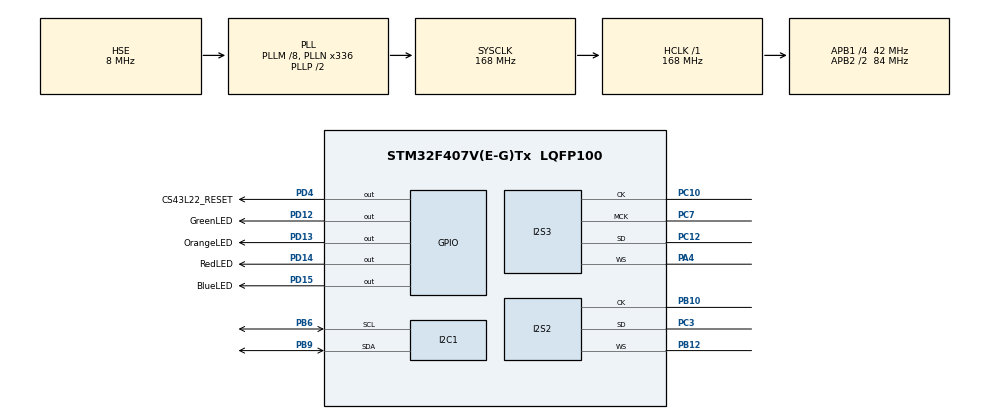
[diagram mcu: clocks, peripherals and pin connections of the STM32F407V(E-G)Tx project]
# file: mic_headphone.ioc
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Dma.Request0=SPI2_RX
Dma.Request1=SPI3_TX
Dma.SPI2_RX.0.Direction=DMA_PERIPH_TO_MEMORY
Dma.SPI2_RX.0.FIFOMode=DMA_FIFOMODE_DISABLE
Dma.SPI2_RX.0.Instance=DMA1_Stream3
Dma.SPI2_RX.0.MemDataAlignment=DMA_MDATAALIGN_HALFWORD
Dma.SPI2_RX.0.MemInc=DMA_MINC_ENABLE
Dma.SPI2_RX.0.Mode=DMA_CIRCULAR
Dma.SPI2_RX.0.PeriphDataAlignment=DMA_PDATAALIGN_HALFWORD
Dma.SPI2_RX.0.PeriphInc=DMA_PINC_DISABLE
Dma.SPI2_RX.0.Priority=DMA_PRIORITY_LOW
Dma.SPI3_TX.1.Direction=DMA_MEMORY_TO_PERIPH
Dma.SPI3_TX.1.FIFOMode=DMA_FIFOMODE_DISABLE
Dma.SPI3_TX.1.Instance=DMA1_Stream5
Dma.SPI3_TX.1.MemDataAlignment=DMA_MDATAALIGN_HALFWORD
Dma.SPI3_TX.1.MemInc=DMA_MINC_ENABLE
Dma.SPI3_TX.1.Mode=DMA_CIRCULAR
Dma.SPI3_TX.1.PeriphDataAlignment=DMA_PDATAALIGN_HALFWORD
Dma.SPI3_TX.1.PeriphInc=DMA_PINC_DISABLE
Dma.SPI3_TX.1.Priority=DMA_PRIORITY_LOW
I2S2.AudioFreq=I2S_AUDIOFREQ_48K
I2S2.DataFormat=I2S_DATAFORMAT_24B
I2S2.ErrorAudioFreq=0.8 %
I2S2.FullDuplexMode=I2S_FULLDUPLEXMODE_DISABLE
I2S2.Instance=SPI$Index
I2S2.Mode=I2S_MODE_SLAVE_RX
I2S2.RealAudioFreq=48.387 KHz
I2S2.VirtualMode=I2S_MODE_SLAVE
I2S3.AudioFreq=I2S_AUDIOFREQ_48K
I2S3.DataFormat=I2S_DATAFORMAT_24B
I2S3.ErrorAudioFreq=-2.34 %
I2S3.FullDuplexMode=I2S_FULLDUPLEXMODE_DISABLE
I2S3.Instance=SPI$Index
I2S3.RealAudioFreq=46.875 KHz
I2S3.VirtualMode=I2S_MODE_MASTER
Mcu.Family=STM32F4
Mcu.Name=STM32F407V(E-G)Tx
Mcu.Package=LQFP100
NVIC.DMA1_Stream3_IRQn=true\:0\:0\:false\:false\:true\:false\:true\:true
NVIC.DMA1_Stream5_IRQn=true\:0\:0\:false\:false\:true\:false\:true\:true
NVIC.PriorityGroup=NVIC_PRIORITYGROUP_0
PA4.Mode=Half_Duplex_Master
PA4.Signal=I2S3_WS
PB10.Mode=Half_Duplex_Slave
PB10.Signal=I2S2_CK
PB12.Mode=Half_Duplex_Slave
PB12.Signal=I2S2_WS
PB6.Mode=I2C
PB6.Signal=I2C1_SCL
PB9.Mode=I2C
PB9.Signal=I2C1_SDA
PC10.Mode=Half_Duplex_Master
PC10.Signal=I2S3_CK
PC12.Mode=Half_Duplex_Master
PC12.Signal=I2S3_SD
PC3.Mode=Half_Duplex_Slave
PC3.Signal=I2S2_SD
PC7.Mode=Master_Clock_Activated
PC7.Signal=I2S3_MCK
PD12.GPIO_Label=GreenLED
PD12.Signal=GPIO_Output
PD13.GPIO_Label=OrangeLED 
PD13.Signal=GPIO_Output
PD14.GPIO_Label=RedLED 
PD14.Signal=GPIO_Output
PD15.GPIO_Label=BlueLED 
PD15.Signal=GPIO_Output
PD4.GPIO_Label=CS43L22_RESET
PD4.Signal=GPIO_Output
PDM2PCM.CHANNEL1_in_ptr_channels=1
PDM2PCM.CHANNEL1_mic_gain=18
PDM2PCM.CHANNEL1_out_ptr_channels=1
PH0-OSC_IN.Mode=HSE-External-Oscillator
PH0-OSC_IN.Signal=RCC_OSC_IN
PH1-OSC_OUT.Mode=HSE-External-Oscillator
PH1-OSC_OUT.Signal=RCC_OSC_OUT
ProjectManager.HeapSize=0x200
ProjectManager.StackSize=0x400
ProjectManager.TargetToolchain=STM32CubeIDE
RCC.48MHZClocksFreq_Value=48000000
RCC.AHBFreq_Value=168000000
RCC.APB1CLKDivider=RCC_HCLK_DIV4
RCC.APB1Freq_Value=42000000
RCC.APB1TimFreq_Value=84000000
RCC.APB2CLKDivider=RCC_HCLK_DIV2
RCC.APB2Freq_Value=84000000
RCC.APB2TimFreq_Value=168000000
RCC.CortexFreq_Value=168000000
RCC.HCLKFreq_Value=168000000
RCC.HSE_VALUE=8000000
RCC.HSI_VALUE=16000000
RCC.LSE_VALUE=32768
RCC.PLLM=8
RCC.PLLN=336
RCC.PLLQ=7
RCC.PLLSourceVirtual=RCC_PLLSOURCE_HSE
RCC.SYSCLKFreq_VALUE=168000000
RCC.SYSCLKSource=RCC_SYSCLKSOURCE_PLLCLK
RCC.VCOOutputFreq_Value=336000000
VP_CRC_VS_CRC.Mode=CRC_Activate
VP_PDM2PCM_VS_PDM2PCM.Mode=PDM2PCM_Channel
board=STM32F407G-DISC1

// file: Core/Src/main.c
/* USER CODE BEGIN Header */
/**
  ******************************************************************************
  * @file           : main.c
  * @brief          : Main program body
  ******************************************************************************
  * @attention
  *
  * Copyright (c) 2024 STMicroelectronics.
  * All rights reserved.
  *
  * This software is licensed under terms that can be found in the LICENSE file
  * in the root directory of this software component.
  * If no LICENSE file comes with this software, it is provided AS-IS.
  *
  ******************************************************************************
  */
/* USER CODE END Header */
#include "main.h"
#include "crc.h"
#include "dma.h"
#include "i2c.h"
#include "i2s.h"
#include "pdm2pcm.h"
#include "gpio.h"

/* USER CODE BEGIN Includes */
#include "CS43L22.h"

/* USER CODE END Includes */

/* USER CODE BEGIN PD */
#define N 32

/* USER CODE END PD */

/* USER CODE BEGIN PV */
uint16_t txBuf[4*N];
uint16_t pdmRxBuf[4*N];
uint16_t MidBuffer[16];
uint8_t txstate = 0;
uint8_t rxstate = 0;

uint16_t fifobuf[8*N];
uint8_t fifo_w_ptr = 0;
uint8_t fifo_r_ptr = 0;
uint8_t fifo_read_enabled = 0;

/* USER CODE END PV */

void SystemClock_Config(void);
void PeriphCommonClock_Config(void);

/* USER CODE BEGIN 0 */
void FifoWrite(uint16_t data) {
	fifobuf[fifo_w_ptr] = data;
	fifo_w_ptr++;
}

uint16_t FifoRead() {
	uint16_t val = fifobuf[fifo_r_ptr];
	fifo_r_ptr++;
	return val;
}

void HAL_I2S_TxHalfCpltCallback(I2S_HandleTypeDef *hi2s) {
	txstate = 1;
}

void HAL_I2S_TxCpltCallback(I2S_HandleTypeDef *hi2s) {
	txstate = 2;
}

void HAL_I2S_RxHalfCpltCallback(I2S_HandleTypeDef *hi2s) {
	rxstate = 1;
}

void HAL_I2S_RxCpltCallback(I2S_HandleTypeDef *hi2s) {
	rxstate = 2;
}

/* USER CODE END 0 */

int main(void)
{

  /* MCU Configuration--------------------------------------------------------*/

  /* Reset of all peripherals, Initializes the Flash interface and the Systick. */
  HAL_Init();

  /* Configure the system clock */
  SystemClock_Config();

  /* Configure the peripherals common clocks */
  PeriphCommonClock_Config();

  /* Initialize all configured peripherals */
  MX_GPIO_Init();
  MX_DMA_Init();
  MX_CRC_Init();
  MX_I2S2_Init();
  MX_PDM2PCM_Init();
  MX_I2S3_Init();
  MX_I2C1_Init();
  /* USER CODE BEGIN 2 */
  CS43_Pin_RST_Init();
  CS43_Init(hi2c1, MODE_I2S);
  CS43_SetVolume(40); // 0 - 40
  CS43_Enable_RightLeft(CS43_RIGHT_LEFT);
  CS43_Start();

  HAL_I2S_Transmit_DMA(&hi2s3, (uint16_t *) txBuf, 2*N);
  HAL_I2S_Receive_DMA(&hi2s2, (uint16_t *) pdmRxBuf, 2*N);

  /* USER CODE END 2 */

  /* Infinite loop */
  while (1)
  {

    /* USER CODE BEGIN 3 */
	  if (rxstate==1) {
		 PDM_Filter(&pdmRxBuf[0],&MidBuffer[0], &PDM1_filter_handler);
		 for (int i=0; i<16;i++) { FifoWrite(MidBuffer[i]); }
		 if (fifo_w_ptr-fifo_r_ptr > 4*N) fifo_read_enabled=1;
		 rxstate=0;
	  }
	  if (rxstate==2) {
		 PDM_Filter(&pdmRxBuf[2*N],&MidBuffer[0], &PDM1_filter_handler);
		 for (int i=0; i<16;i++) { FifoWrite(MidBuffer[i]); }
		 rxstate=0;
	  }
	  if (txstate==1) {
		 if (fifo_read_enabled==1) {
			for (int i=0; i<2*N;i=i+4) {
				uint16_t data = FifoRead();
				txBuf[i] = data;
				txBuf[i+2] = data;
			}
		 }
		 txstate=0;
	  }
	  if (txstate==2) {
		 if (fifo_read_enabled==1) {
			 for (int i=2*N; i<4*N;i=i+4) {
				uint16_t data = FifoRead();
				txBuf[i] = data;
				txBuf[i+2] = data;
			 }
		 }
		 txstate=0;
	  }

  }
  /* USER CODE END 3 */
}

void SystemClock_Config(void)
{
  RCC_OscInitTypeDef RCC_OscInitStruct = {0};
  RCC_ClkInitTypeDef RCC_ClkInitStruct = {0};

  /** Configure the main internal regulator output voltage
  */
  __HAL_RCC_PWR_CLK_ENABLE();
  __HAL_PWR_VOLTAGESCALING_CONFIG(PWR_REGULATOR_VOLTAGE_SCALE1);

  /** Initializes the RCC Oscillators according to the specified parameters
  * in the RCC_OscInitTypeDef structure.
  */
  RCC_OscInitStruct.OscillatorType = RCC_OSCILLATORTYPE_HSE;
  RCC_OscInitStruct.HSEState = RCC_HSE_ON;
  RCC_OscInitStruct.PLL.PLLState = RCC_PLL_ON;
  RCC_OscInitStruct.PLL.PLLSource = RCC_PLLSOURCE_HSE;
  RCC_OscInitStruct.PLL.PLLM = 8;
  RCC_OscInitStruct.PLL.PLLN = 336;
  RCC_OscInitStruct.PLL.PLLP = RCC_PLLP_DIV2;
  RCC_OscInitStruct.PLL.PLLQ = 7;
  if (HAL_RCC_OscConfig(&RCC_OscInitStruct) != HAL_OK)
  {
    Error_Handler();
  }

  /** Initializes the CPU, AHB and APB buses clocks
  */
  RCC_ClkInitStruct.ClockType = RCC_CLOCKTYPE_HCLK|RCC_CLOCKTYPE_SYSCLK
                              |RCC_CLOCKTYPE_PCLK1|RCC_CLOCKTYPE_PCLK2;
  RCC_ClkInitStruct.SYSCLKSource = RCC_SYSCLKSOURCE_PLLCLK;
  RCC_ClkInitStruct.AHBCLKDivider = RCC_SYSCLK_DIV1;
  RCC_ClkInitStruct.APB1CLKDivider = RCC_HCLK_DIV4;
  RCC_ClkInitStruct.APB2CLKDivider = RCC_HCLK_DIV2;

  if (HAL_RCC_ClockConfig(&RCC_ClkInitStruct, FLASH_LATENCY_5) != HAL_OK)
  {
    Error_Handler();
  }
}

void PeriphCommonClock_Config(void)
{
  RCC_PeriphCLKInitTypeDef PeriphClkInitStruct = {0};

  /** Initializes the peripherals clock
  */
  PeriphClkInitStruct.PeriphClockSelection = RCC_PERIPHCLK_I2S;
  PeriphClkInitStruct.PLLI2S.PLLI2SN = 192;
  PeriphClkInitStruct.PLLI2S.PLLI2SR = 2;
  if (HAL_RCCEx_PeriphCLKConfig(&PeriphClkInitStruct) != HAL_OK)
  {
    Error_Handler();
  }
}

void Error_Handler(void)
{
  __disable_irq();
  while (1)
  {
  }
}
